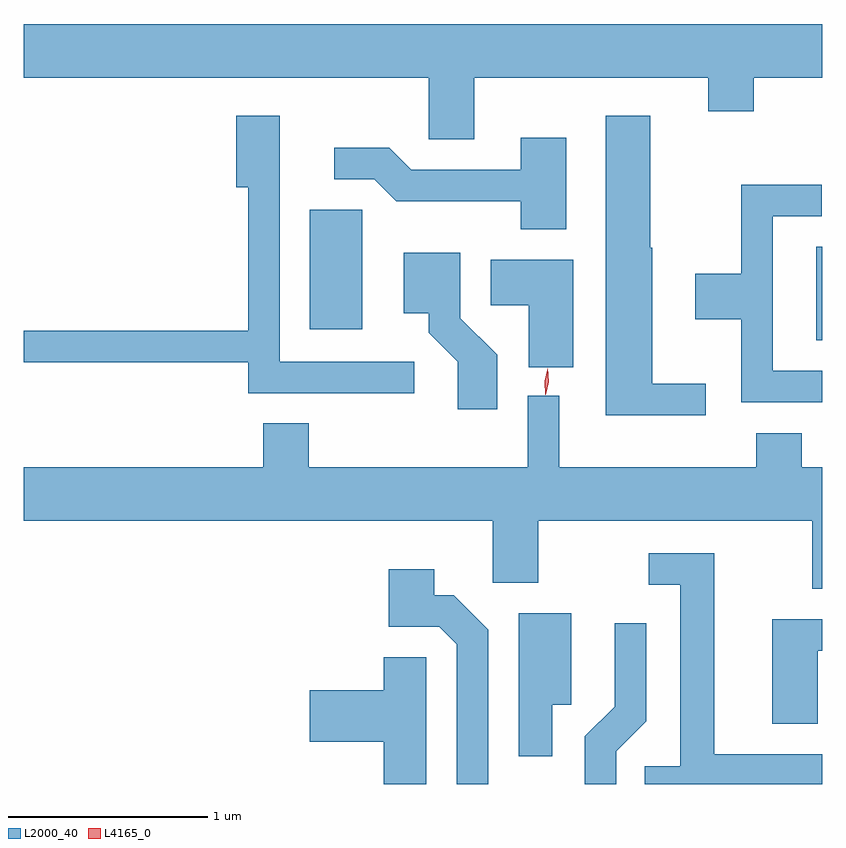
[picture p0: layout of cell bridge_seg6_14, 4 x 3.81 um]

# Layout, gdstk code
import gdstk
lib = gdstk.Library(unit=1e-6, precision=1e-09)
def R(c, l, rs):  # rectangles x0, y0, x1, y1
    for r in rs: c.add(gdstk.rectangle(r[:2], r[2:], *l))
def P(c, l, *ps):  # polygons
    for p in ps: c.add(gdstk.Polygon(p, *l))
L2000_40 = (2000, 40)
L4165_0 = (4165, 0)

bridge_seg6_14 = lib.new_cell('bridge_seg6_14')
R(bridge_seg6_14, L2000_40, [(1461.771,1584.241,1461.802,1584.709), (1459.236,1584.296,1459.499,1584.894)])
P(bridge_seg6_14, L2000_40, [(1460.059,1585.556),(1461.231,1585.556),(1461.231,1585.386),(1461.459,1585.386),(1461.459,1585.556),(1461.802,1585.556),(1461.802,1585.824),(1457.802,1585.824),(1457.802,1585.556),(1459.831,1585.556),(1459.831,1585.246),(1460.059,1585.246)],
  [(1461.218,1584.024),(1460.949,1584.024),(1460.949,1584.705),(1460.939,1584.705),(1460.939,1585.364),(1460.716,1585.364),(1460.716,1583.866),(1461.218,1583.866)],
  [(1459.758,1584.134),(1459.084,1584.134),(1459.084,1585.364),(1458.866,1585.364),(1458.866,1585.006),(1458.926,1585.006),(1458.926,1584.289),(1457.802,1584.289),(1457.802,1584.131),(1458.926,1584.131),(1458.926,1583.976),(1459.758,1583.976)],
  [(1460.519,1585.254),(1460.291,1585.254),(1460.291,1585.094),(1459.742,1585.094),(1459.632,1585.204),(1459.358,1585.204),(1459.358,1585.046),(1459.559,1585.046),(1459.669,1584.936),(1460.291,1584.936),(1460.291,1584.796),(1460.519,1584.796)],
  [(1461.802,1584.089),(1461.554,1584.089),(1461.554,1584.861),(1461.798,1584.861),(1461.798,1585.019),(1461.396,1585.019),(1461.396,1584.574),(1461.166,1584.574),(1461.166,1584.346),(1461.396,1584.346),(1461.396,1583.931),(1461.802,1583.931)],
  [(1460.174,1584.167),(1459.989,1584.352),(1459.989,1584.679),(1459.706,1584.679),(1459.706,1584.376),(1459.831,1584.376),(1459.831,1584.279),(1459.976,1584.134),(1459.976,1583.896),(1460.174,1583.896)],
  [(1460.554,1584.644),(1460.141,1584.644),(1460.141,1584.416),(1460.331,1584.416),(1460.331,1584.106),(1460.554,1584.106)],
  [(1461.802,1583.604),(1461.699,1583.604),(1461.699,1583.774),(1461.471,1583.774),(1461.471,1583.604),(1460.484,1583.604),(1460.484,1583.963),(1460.326,1583.963),(1460.326,1583.604),(1459.229,1583.604),(1459.229,1583.824),(1459.001,1583.824),(1459.001,1583.604),(1457.802,1583.604),(1457.802,1583.336),(1460.151,1583.336),(1460.151,1583.026),(1460.379,1583.026),(1460.379,1583.336),(1461.751,1583.336),(1461.751,1582.996),(1461.802,1582.996)],
  [(1461.802,1582.169),(1461.259,1582.169),(1461.259,1583.174),(1460.933,1583.174),(1460.933,1583.016),(1461.091,1583.016),(1461.091,1582.109),(1460.913,1582.109),(1460.913,1582.019),(1461.802,1582.019)],
  [(1460.129,1582.792),(1459.957,1582.964),(1459.859,1582.964),(1459.859,1583.094),(1459.631,1583.094),(1459.631,1582.806),(1459.884,1582.806),(1459.971,1582.719),(1459.971,1582.019),(1460.129,1582.019)],
  [(1460.449,1582.416),(1460.544,1582.416),(1460.544,1582.874),(1460.281,1582.874),(1460.281,1582.158),(1460.449,1582.158)],
  [(1461.779,1582.686),(1461.802,1582.686),(1461.802,1582.844),(1461.551,1582.844),(1461.551,1582.321),(1461.779,1582.321)],
  [(1460.769,1582.184),(1460.919,1582.334),(1460.919,1582.823),(1460.761,1582.823),(1460.761,1582.407),(1460.611,1582.257),(1460.611,1582.019),(1460.769,1582.019)],
  [(1459.819,1582.654),(1459.606,1582.654),(1459.606,1582.489),(1459.236,1582.489),(1459.236,1582.231),(1459.606,1582.231),(1459.606,1582.019),(1459.819,1582.019)])
P(bridge_seg6_14, L4165_0, [(1460.415,1583.968),(1460.411,1584.035),(1460.426,1584.1),(1460.426,1584.1),(1460.427,1584.1),(1460.431,1584.033),(1460.416,1583.968),(1460.416,1583.968)])

lib.write_gds('bridge_seg6_14.gds')
